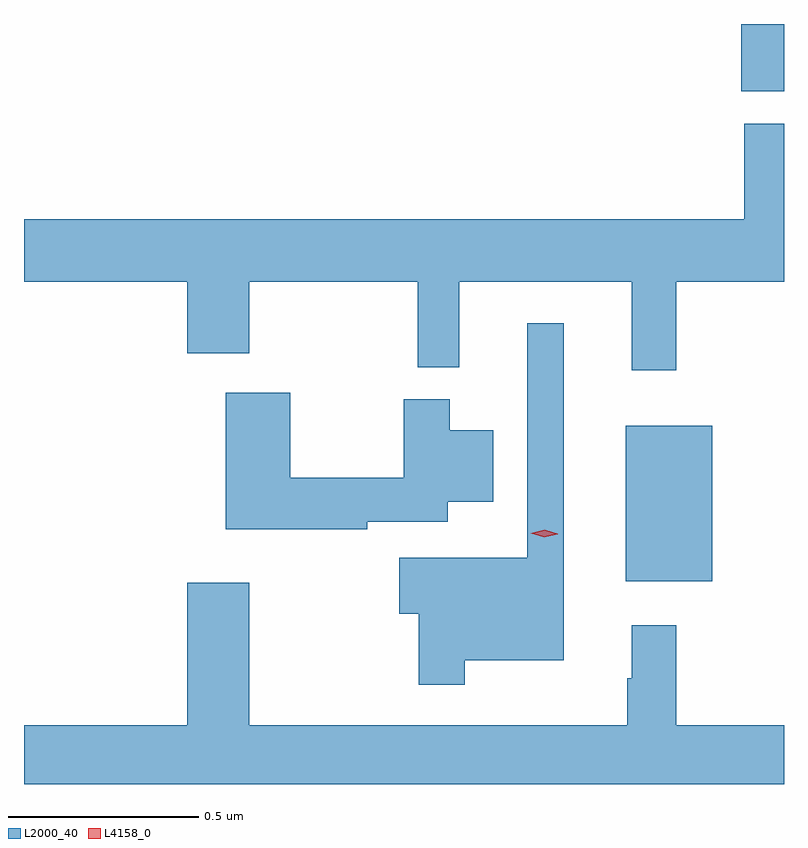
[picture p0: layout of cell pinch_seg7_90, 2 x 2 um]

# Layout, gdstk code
import gdstk
lib = gdstk.Library(unit=1e-6, precision=1e-09)
def R(c, l, rs):  # rectangles x0, y0, x1, y1
    for r in rs: c.add(gdstk.rectangle(r[:2], r[2:], *l))
def P(c, l, *ps):  # polygons
    for p in ps: c.add(gdstk.Polygon(p, *l))
L2000_40 = (2000, 40)
L4158_0 = (4158, 0)

pinch_seg7_90 = lib.new_cell('pinch_seg7_90')
R(pinch_seg7_90, L2000_40, [(909.419,1015.811,909.646,1016.221), (909.722,1017.101,909.835,1017.278)])
P(pinch_seg7_90, L2000_40, [(909.551,1016.6),(909.835,1016.6),(909.835,1017.016),(909.731,1017.016),(909.731,1016.764),(907.835,1016.764),(907.835,1016.6),(908.264,1016.6),(908.264,1016.412),(908.428,1016.412),(908.428,1016.6),(908.871,1016.6),(908.871,1016.375),(908.981,1016.375),(908.981,1016.6),(909.434,1016.6),(909.434,1016.367),(909.551,1016.367)],
  [(908.995,1015.604),(909.256,1015.604),(909.256,1016.491),(909.159,1016.491),(909.159,1015.873),(908.822,1015.873),(908.822,1015.726),(908.874,1015.726),(908.874,1015.539),(908.995,1015.539)],
  [(908.738,1015.968),(908.95,1015.968),(908.95,1016.021),(909.07,1016.021),(909.07,1016.209),(908.956,1016.209),(908.956,1016.29),(908.834,1016.29),(908.834,1016.084),(908.536,1016.084),(908.536,1016.308),(908.366,1016.308),(908.366,1015.948),(908.738,1015.948)],
  [(909.835,1015.432),(909.551,1015.432),(909.551,1015.696),(909.434,1015.696),(909.434,1015.556),(909.423,1015.556),(909.423,1015.432),(908.428,1015.432),(908.428,1015.807),(908.264,1015.807),(908.264,1015.432),(907.835,1015.432),(907.835,1015.278),(909.835,1015.278)])
P(pinch_seg7_90, L4158_0, [(909.204,1015.927),(909.169,1015.938),(909.169,1015.938),(909.169,1015.938),(909.205,1015.947),(909.24,1015.936),(909.24,1015.936),(909.24,1015.935)])

lib.write_gds('pinch_seg7_90.gds')
